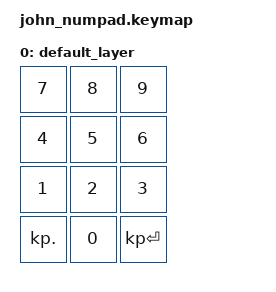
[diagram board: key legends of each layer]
/ {
    keymap {
        compatible = "zmk,keymap";

        default_layer {
            bindings = <
                &kp N7      &kp N8       &kp N9
                &kp N4      &kp N5       &kp N6
                &kp N1      &kp N2       &kp N3
                &kp KP_DOT  &kp N0       &kp KP_ENTER
            >;
        };
    };
};
